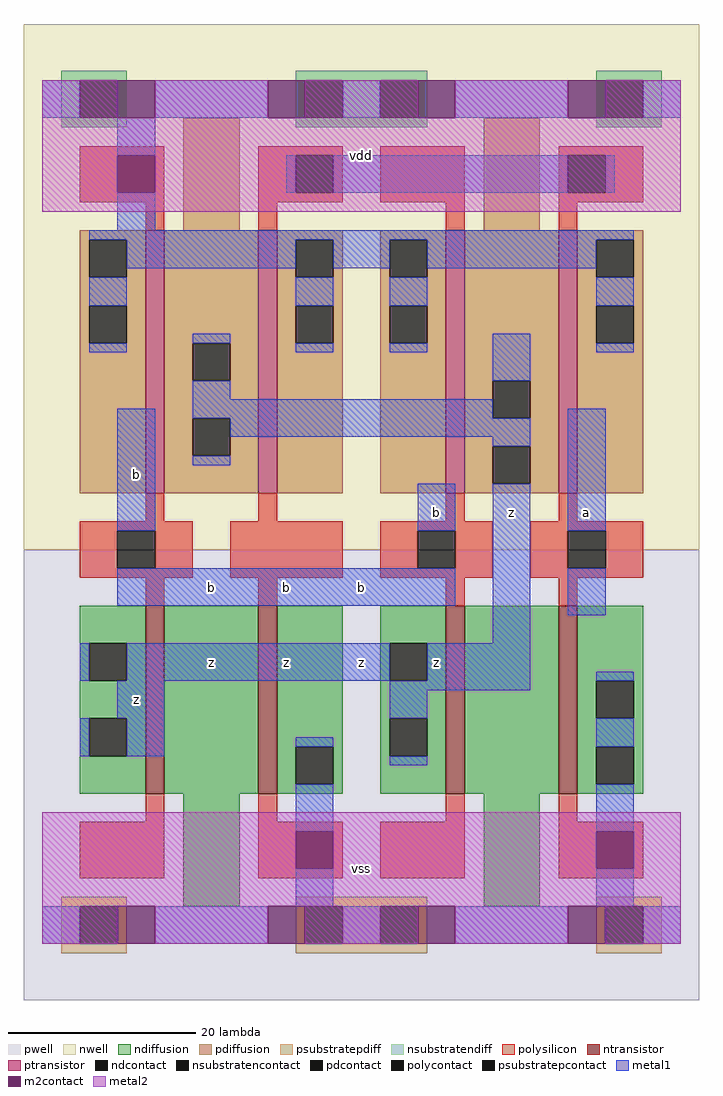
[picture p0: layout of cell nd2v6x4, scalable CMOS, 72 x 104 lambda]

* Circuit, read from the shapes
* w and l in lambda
.subckt nd2v6x4 a b vdd vss z
M1 n1 b z vss nfet w=20 l=2
M2 vss a n1 vss nfet w=20 l=2
M3 n2 b z vss nfet w=20 l=2
M4 vss a n2 vss nfet w=20 l=2
M5 z b vdd vdd pfet w=28 l=2 m=2
M6 vdd a z vdd pfet w=28 l=2 m=2
.ends

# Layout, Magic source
magic
tech scmos
<< pwell >>
rect -4 -8 68 40
<< nwell >>
rect -4 40 68 96
<< polysilicon >>
rect 2 77 11 83
rect 9 74 11 77
rect 21 82 30 83
rect 21 78 25 82
rect 29 78 30 82
rect 21 77 30 78
rect 34 77 43 83
rect 21 74 23 77
rect 41 74 43 77
rect 53 82 62 83
rect 53 78 54 82
rect 58 78 62 82
rect 53 77 62 78
rect 53 74 55 77
rect 9 43 11 46
rect 21 43 23 46
rect 41 43 43 46
rect 53 43 55 46
rect 2 42 14 43
rect 2 38 6 42
rect 10 38 14 42
rect 2 37 14 38
rect 18 37 30 43
rect 34 42 46 43
rect 34 38 38 42
rect 42 38 46 42
rect 34 37 46 38
rect 50 42 62 43
rect 50 38 54 42
rect 58 38 62 42
rect 50 37 62 38
rect 9 34 11 37
rect 21 34 23 37
rect 41 34 43 37
rect 53 34 55 37
rect 9 11 11 14
rect 2 5 11 11
rect 21 11 23 14
rect 41 11 43 14
rect 21 5 30 11
rect 34 5 43 11
rect 53 11 55 14
rect 53 5 62 11
<< ndiffusion >>
rect 2 30 9 34
rect 2 26 3 30
rect 7 26 9 30
rect 2 22 9 26
rect 2 18 3 22
rect 7 18 9 22
rect 2 14 9 18
rect 11 14 21 34
rect 23 19 30 34
rect 23 15 25 19
rect 29 15 30 19
rect 23 14 30 15
rect 34 30 41 34
rect 34 26 35 30
rect 39 26 41 30
rect 34 22 41 26
rect 34 18 35 22
rect 39 18 41 22
rect 34 14 41 18
rect 43 14 53 34
rect 55 26 62 34
rect 55 22 57 26
rect 61 22 62 26
rect 55 19 62 22
rect 55 15 57 19
rect 61 15 62 19
rect 55 14 62 15
rect 13 2 19 14
rect 45 2 51 14
<< pdiffusion >>
rect 13 74 19 86
rect 45 74 51 86
rect 2 73 9 74
rect 2 69 3 73
rect 7 69 9 73
rect 2 66 9 69
rect 2 62 3 66
rect 7 62 9 66
rect 2 46 9 62
rect 11 62 21 74
rect 11 58 14 62
rect 18 58 21 62
rect 11 54 21 58
rect 11 50 14 54
rect 18 50 21 54
rect 11 46 21 50
rect 23 73 30 74
rect 23 69 25 73
rect 29 69 30 73
rect 23 66 30 69
rect 23 62 25 66
rect 29 62 30 66
rect 23 46 30 62
rect 34 73 41 74
rect 34 69 35 73
rect 39 69 41 73
rect 34 66 41 69
rect 34 62 35 66
rect 39 62 41 66
rect 34 46 41 62
rect 43 58 53 74
rect 43 54 46 58
rect 50 54 53 58
rect 43 51 53 54
rect 43 47 46 51
rect 50 47 53 51
rect 43 46 53 47
rect 55 73 62 74
rect 55 69 57 73
rect 61 69 62 73
rect 55 66 62 69
rect 55 62 57 66
rect 61 62 62 66
rect 55 46 62 62
<< metal1 >>
rect -2 86 2 90
rect 10 86 22 90
rect 30 86 34 90
rect 42 86 54 90
rect 62 86 66 90
rect 6 82 10 86
rect 24 78 25 82
rect 29 78 54 82
rect 58 78 59 82
rect 6 74 10 78
rect 3 73 61 74
rect 7 70 25 73
rect 3 66 7 69
rect 29 70 35 73
rect 25 66 29 69
rect 3 61 7 62
rect 14 62 18 63
rect 25 61 29 62
rect 39 70 57 73
rect 35 66 39 69
rect 57 66 61 69
rect 35 61 39 62
rect 14 56 18 58
rect 46 58 50 63
rect 57 61 61 62
rect 6 42 10 55
rect 14 54 46 56
rect 18 52 50 54
rect 14 49 18 50
rect 46 51 50 52
rect 38 42 42 47
rect 6 34 42 38
rect 46 30 50 47
rect 54 42 58 55
rect 54 33 58 38
rect 2 26 3 30
rect 7 26 35 30
rect 39 26 50 30
rect 6 22 11 26
rect 2 18 3 22
rect 7 18 11 22
rect 35 25 50 26
rect 57 26 61 27
rect 35 22 39 25
rect 25 19 29 20
rect 35 17 39 18
rect 57 19 61 22
rect 25 10 29 15
rect 25 2 29 6
rect 57 10 61 15
rect 57 2 61 6
rect -2 -2 2 2
rect 10 -2 22 2
rect 30 -2 34 2
rect 42 -2 54 2
rect 62 -2 66 2
<< metal2 >>
rect -2 86 6 90
rect 10 86 22 90
rect 26 86 38 90
rect 42 86 54 90
rect 58 86 66 90
rect -2 82 66 86
rect -2 78 6 82
rect 10 78 66 82
rect -2 76 66 78
rect -2 10 66 12
rect -2 6 25 10
rect 29 6 57 10
rect 61 6 66 10
rect -2 2 66 6
rect -2 -2 6 2
rect 10 -2 22 2
rect 26 -2 38 2
rect 42 -2 54 2
rect 58 -2 66 2
<< ntransistor >>
rect 9 14 11 34
rect 21 14 23 34
rect 41 14 43 34
rect 53 14 55 34
<< ptransistor >>
rect 9 46 11 74
rect 21 46 23 74
rect 41 46 43 74
rect 53 46 55 74
<< polycontact >>
rect 25 78 29 82
rect 54 78 58 82
rect 6 38 10 42
rect 38 38 42 42
rect 54 38 58 42
<< ndcontact >>
rect 3 26 7 30
rect 3 18 7 22
rect 25 15 29 19
rect 35 26 39 30
rect 35 18 39 22
rect 57 22 61 26
rect 57 15 61 19
<< pdcontact >>
rect 3 69 7 73
rect 3 62 7 66
rect 14 58 18 62
rect 14 50 18 54
rect 25 69 29 73
rect 25 62 29 66
rect 35 69 39 73
rect 35 62 39 66
rect 46 54 50 58
rect 46 47 50 51
rect 57 69 61 73
rect 57 62 61 66
<< m2contact >>
rect 6 86 10 90
rect 22 86 26 90
rect 38 86 42 90
rect 54 86 58 90
rect 6 78 10 82
rect 25 6 29 10
rect 57 6 61 10
rect 6 -2 10 2
rect 22 -2 26 2
rect 38 -2 42 2
rect 54 -2 58 2
<< psubstratepcontact >>
rect 2 -2 6 2
rect 26 -2 30 2
rect 34 -2 38 2
rect 58 -2 62 2
<< nsubstratencontact >>
rect 2 86 6 90
rect 26 86 30 90
rect 34 86 38 90
rect 58 86 62 90
<< psubstratepdiff >>
rect 0 2 7 3
rect 25 2 39 3
rect 57 2 64 3
rect 0 -2 2 2
rect 6 -2 7 2
rect 0 -3 7 -2
rect 25 -2 26 2
rect 30 -2 34 2
rect 38 -2 39 2
rect 25 -3 39 -2
rect 57 -2 58 2
rect 62 -2 64 2
rect 57 -3 64 -2
<< nsubstratendiff >>
rect 0 90 7 91
rect 0 86 2 90
rect 6 86 7 90
rect 25 90 39 91
rect 25 86 26 90
rect 30 86 34 90
rect 38 86 39 90
rect 57 90 64 91
rect 57 86 58 90
rect 62 86 64 90
rect 0 85 7 86
rect 25 85 39 86
rect 57 85 64 86
<< labels >>
rlabel metal1 8 24 8 24 6 z
rlabel metal1 8 48 8 48 6 b
rlabel metal1 16 28 16 28 6 z
rlabel metal1 16 36 16 36 6 b
rlabel metal1 24 28 24 28 6 z
rlabel metal1 32 28 32 28 6 z
rlabel metal1 32 36 32 36 6 b
rlabel metal1 24 36 24 36 6 b
rlabel metal1 40 28 40 28 6 z
rlabel metal1 40 44 40 44 6 b
rlabel metal1 48 44 48 44 6 z
rlabel metal1 56 44 56 44 6 a
rlabel metal2 32 6 32 6 6 vss
rlabel metal2 32 82 32 82 6 vdd
<< end >>
